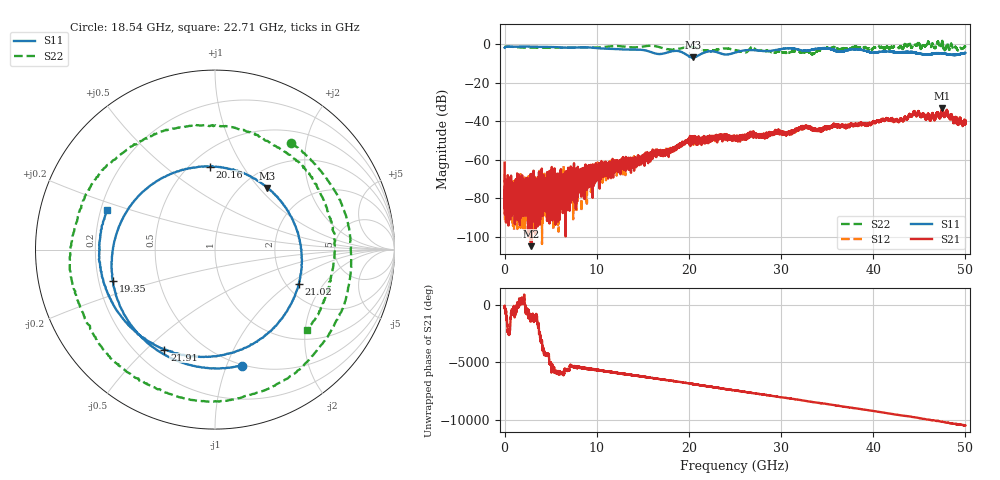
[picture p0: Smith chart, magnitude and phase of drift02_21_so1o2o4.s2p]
!Created with skrf (http://scikit-rf.org).
# Hz S RI R 50.0
!freq ReS11 ImS11 ReS21 ImS21 ReS12 ImS12 ReS22 ImS22
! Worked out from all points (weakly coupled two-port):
!   10001 points, 300 kHz to 50 GHz, reference 50 ohm
!   highest |S21| = -33.15 dB at 47.51 GHz (marker M1); lowest = -104.7 dB at 2.91 GHz (marker M2)
!   lowest |S11| = -6.9 dB at 20.47 GHz (marker M3), VSWR 2.64, Z = 64.2 + j55.4 ohm
!   |S11| at or under -10 dB: nowhere
!   |S22| runs from -5.4 to 1.8 dB; largest |S21 - S12| = 0.0035
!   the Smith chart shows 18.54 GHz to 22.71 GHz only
!   S11 on the Smith chart (normalised r, x): 18.54 GHz: 0.49, -1.13; 19.35 GHz: 0.26, -0.14; 20.16 GHz: 0.62, +0.73; 21.02 GHz: 2.33, -1.19; 21.91 GHz: 0.31, -0.57; 22.71 GHz: 0.23, +0.17
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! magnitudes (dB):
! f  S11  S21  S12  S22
! 300 kHz  -2.1  -61.5  -67.3  -1.3
! 255.3 MHz  -1.4  -73.1  -81.8  -1.4
! 1.91 GHz  -1.4  -72.6  -78.6  -1.9
! 2.91 GHz  -1.4  -104.7  -70.4  -2.0
! 4.325 GHz  -1.6  -72.7  -73.9  -2.0
! 5.97 GHz  -1.7  -68.7  -66.5  -1.9
! 8.335 GHz  -1.7  -79.0  -70.9  -1.9
! 16.67 GHz  -5.2  -56.7  -56.3  -1.5
! 18.54 GHz  -3.6  -54.0  -53.9  -2.7
! 19.35 GHz  -4.5  -51.0  -50.9  -2.1
! 20.16 GHz  -6.7  -50.8  -51.2  -1.5
! 20.47 GHz  -6.9  -49.3  -49.8  -1.8
! 21.02 GHz  -6.0  -49.8  -49.2  -2.3
! 21.91 GHz  -4.1  -48.5  -49.1  -3.5
! 22.71 GHz  -3.9  -49.7  -48.1  -3.3
! 25 GHz  -4.5  -48.3  -48.7  -3.2
! 26.9 GHz  -3.2  -46.7  -45.5  -1.7
! 33.34 GHz  -3.0  -43.4  -44.0  -5.1
! 34.89 GHz  -2.2  -42.9  -43.4  -2.2
! 41.67 GHz  -4.0  -39.2  -39.2  -1.9
! 47.51 GHz  -4.9  -33.2  -33.5  1.8
! 50 GHz  -4.6  -40.2  -40.6  -1.5
